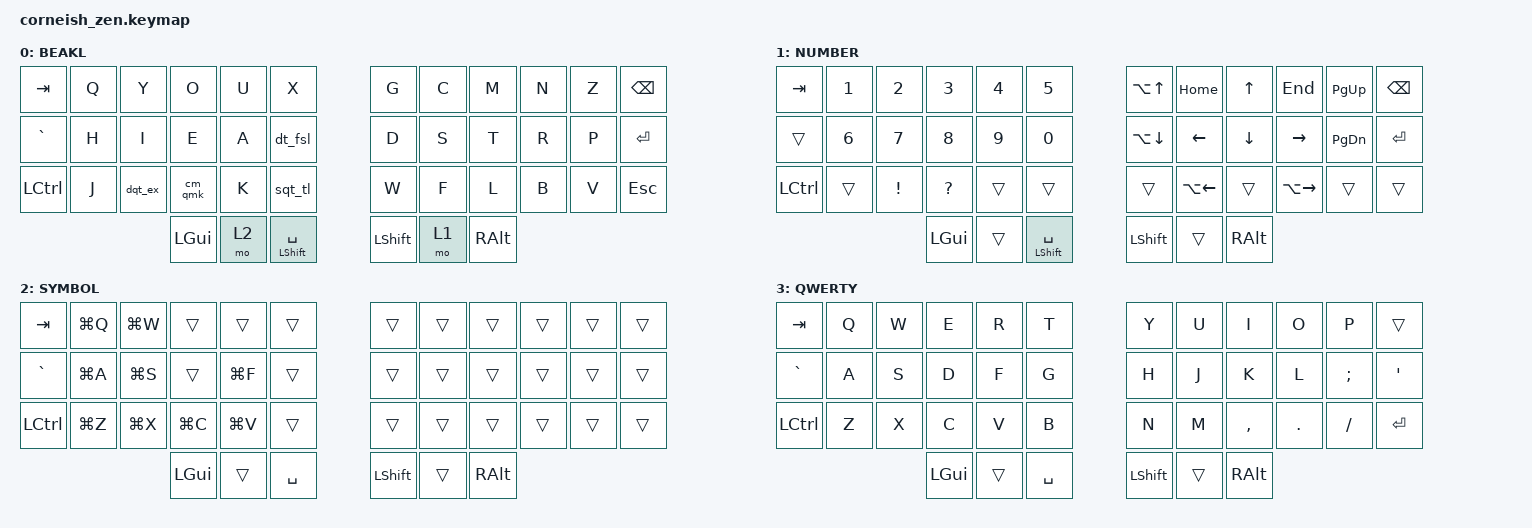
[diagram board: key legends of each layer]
#include <behaviors.dtsi>
#include <dt-bindings/zmk/keys.h>
#include <dt-bindings/zmk/bt.h>

// Layers
#define L1 0
#define L2 1
#define Fn 2
#define Ln 3

// Meh key
#define MEH LS(LC(LALT))

// Behaviors Constants
#define TAPPING_TERM_MS 280
#define QUICK_TAP_MS 175
#define GLOBAL_QUICK_TAP_MS 150

// Combos Constants
#define COMBO_TERM_DEFAULT 30
#define COMBO_QUICK_TAP_MS 100

&caps_word {
    continue-list = <UNDERSCORE MINUS BSPC DEL N1 N2 N3 N4 N5 N6 N7 N8 N9 N0>;
};

#include "behaviors.dtsi"
#include "macros.dtsi"
#include "combos.dtsi"

/ {
  chosen {
    zmk,matrix_transform = &default_transform;
    //zmk,matrix_transform = &five_column_transform;
  };
};

/ {
        keymap {
                compatible = "zmk,keymap";

                default_layer {
                        label = "BEAKL"; // BEAKL 27-A
// ╭──────┬─────┬─────┬─────┬─────┬──────╮   ╭─────────────────────────────────────╮
// |  TAB |  Q  |  Y  |  O  |  U  |  X   |   |  G   |  C  |  M  |  N  |  Z  | BKSP |
// ├──────┼─────┼─────┼─────┼─────┼──────┤   ├──────┼─────┼─────┼─────┼─────┼──────┤
// | `    |  H  |  I  |  E  |  A  | ./   |   |  D   |  S  |  T  |  R  |  P  | ENT  |
// ├──────┼─────┼─────┼─────┼─────┼──────┤   ├──────┼─────┼─────┼─────┼─────┼──────┤
// | CTRL |  J  | "!  | ,?  |  K  | '~   |   |  W   |  F  |  L  |  B  |  V  | ESC  |
// ╰──────┴─────┴─────┼─────┼─────┼──────┤   ├──────┼─────┼─────┼─────┴─────┴──────╯
//                    | GUI | LWR | SPC  |   | SHFT | RSE | ALT |
//                    ╰─────┴─────┴──────╯   ╰──────┴─────┴─────╯
                        bindings = <
// ╭────────────┬────────────┬────────────┬────────────┬────────────┬──────────────╮   ╭────────────┬────────────┬────────────┬────────────┬────────────┬────────────╮
    &kp TAB      &kp Q        &kp Y        &kp O        &kp U        &kp X             &kp G        &kp C        &kp M        &kp N        &kp Z        &kp BSPC
// ├────────────┼────────────┼────────────┼────────────┼────────────┼──────────────┤   ├────────────┼────────────┼────────────┼────────────┼────────────┼────────────┤
    &kp GRAVE    &kp H        &kp I        &kp E        &kp A        &dt_fsl           &kp D        &kp S        &kp T        &kp R        &kp P        &kp RET
// ├────────────┼────────────┼────────────┼────────────┼────────────┼──────────────┤   ├────────────┼────────────┼────────────┼────────────┼────────────┼────────────┤
    &kp LCTRL    &kp J        &dqt_ex      &cm_qmk      &kp K        &sqt_tl           &kp W        &kp F        &kp L        &kp B        &kp V        &kp ESC
// ╰────────────┴────────────┴────────────┼────────────┼────────────┼──────────────┤   ├────────────┼────────────┼────────────┼────────────┴────────────┴────────────╯
                                           &kp LGUI     &mo 2        &mt LSHFT SPACE   &kp LSHFT    &mo 1        &kp RALT
//                                        ╰────────────┴────────────┴──────────────╯   ╰────────────┴────────────┴────────────╯

                        >;
                };
                lower_layer {
                        label = "NUMBER";
// ╭──────┬─────┬─────┬─────┬─────┬─────╮   ╭─────────────────────────────────────────╮
// |  TAB |  1  |  2  |  3  |  4  |  5  |   | A(UP) | HOME |  UP  |  END |PGUP | BKSP |
// ├──────┼─────┼─────┼─────┼─────┼─────┤   ├───────┼──────┼──────┼──────┼─────┼──────┤
// |      |  6  |  7  |  8  |  9  |  0  |   | A(DN) | LEFT | DOWN | RGHT |PGDN | ENT  |
// ├──────┼─────┼─────┼─────┼─────┼─────┤   ├───────┼──────┼──────┼──────┼─────┼──────┤
// | CTRL |     |  !  |  ?  |     |     |   |       |A(LT) |      |A(RT) |     |      |
// ╰──────┴─────┴─────┼─────┼─────┼─────┤   ├───────┼──────┼──────┼──────┴─────┴──────╯
//                    | GUI |     | SPC |   |  SHFT |      |  ALT |
//                    ╰─────┴─────┴─────╯   ╰───────┴──────┴──────╯
                        bindings = <
// ╭────────────┬────────────┬────────────┬────────────┬────────────┬──────────────╮   ╭────────────┬────────────┬────────────┬─────────────┬────────────┬────────────╮
   &kp TAB      &kp N1       &kp N2       &kp N3       &kp N4       &kp N5             &kp LA(UP)   &kp HOME     &kp UP       &kp END       &kp PG_UP    &kp BSPC
// ├────────────┼────────────┼────────────┼────────────┼────────────┼──────────────┤   ├────────────┼────────────┼────────────┼─────────────┼────────────┼────────────┤
   &trans       &kp N6       &kp N7       &kp N8       &kp N9       &kp N0             &kp LA(DOWN) &kp LEFT     &kp DOWN     &kp RIGHT     &kp PG_DN    &kp RET
// ├────────────┼────────────┼────────────┼────────────┼────────────┼──────────────┤   ├────────────┼────────────┼────────────┼─────────────┼────────────┼────────────┤
   &kp LCTRL    &trans       &kp EXCL     &kp QMARK    &trans       &trans             &trans       &kp LA(LEFT) &trans       &kp LA(RIGHT) &trans       &trans
// ╰────────────┴────────────┴────────────┼────────────┼────────────┼──────────────┤   ├────────────┼────────────┼────────────┼─────────────┴────────────┴────────────╯
                          	               &kp LGUI     &trans       &mt LSHFT SPACE    &kp LSHFT    &trans       &kp RALT
//                                        ╰────────────┴────────────┴──────────────╯   ╰────────────┴────────────┴────────────╯

                        >;
                };

                raise_layer {
                        label = "SYMBOL";
// ╭──────┬──────┬──────┬─────┬──────┬─────╮   ╭─────────────────────────────────────╮
// |  TAB |  ⌘Q  |  ⌘W  |     |      |     |   |      |     |     |     |     | BKSP |
// ├──────┼──────┼──────┼─────┼──────┼─────┤   ├──────┼─────┼─────┼─────┼─────┼──────┤
// |   `  |  SEL | SAVE |     | FIND |     |   |      |     |     |     |     |      |
// ├──────┼──────┼──────┼─────┼──────┼─────┤   ├──────┼─────┼─────┼─────┼─────┼──────┤
// | CTRL | UNDO |  CUT | CPY | PSTE |     |   |      |     |     |     |     |      |
// ╰──────┴──────┴──────┼─────┼──────┼─────┤   ├──────┼─────┼─────┼─────┴─────┴──────╯
//                      | GUI |      | SPC |   | SHFT |     | ALT |
//                      ╰─────┴──────┴─────╯   ╰──────┴─────┴─────╯
                        bindings = <
// ╭────────────┬────────────┬────────────┬────────────┬────────────┬────────────╮   ╭────────────┬────────────┬────────────┬────────────┬────────────┬────────────╮
   &kp TAB      &kp LG(Q)    &kp LG(W)    &trans       &trans       &trans           &trans       &trans       &trans       &trans       &trans       &trans
// ├────────────┼────────────┼────────────┼────────────┼────────────┼────────────┤   ├────────────┼────────────┼────────────┼────────────┼────────────┼────────────┤
   &kp GRAVE    &kp LG(A)    &kp LG(S)    &trans       &kp LG(F)    &trans           &trans       &trans       &trans       &trans       &trans       &trans
// ├────────────┼────────────┼────────────┼────────────┼────────────┼────────────┤   ├────────────┼────────────┼────────────┼────────────┼────────────┼────────────┤
   &kp LCTRL    &kp LG(Z)    &kp LG(X)   &kp LG(C)     &kp LG(V)    &trans           &trans       &trans       &trans       &trans       &trans       &trans
// ╰────────────┴────────────┴────────────┼────────────┼────────────┼────────────┤   ├────────────┼────────────┼────────────┼────────────┴────────────┴────────────╯
                    	                     &kp LGUI    &trans       &kp SPACE         &kp LSHFT    &trans       &kp RALT
//                                        ╰────────────┴────────────┴────────────╯   ╰────────────┴────────────┴────────────╯

                        >;
                };
                qwerty_layer {
                        label = "QWERTY";
// ╭──────┬─────┬─────┬─────┬─────┬─────╮   ╭─────────────────────────────────────╮
// |  TAB |  Q  |  W  |  E  |  R  |  T  |   |  Y   |  U  |  I  |  O  |  P  | BKSP |
// ├──────┼─────┼─────┼─────┼─────┼─────┤   ├──────┼─────┼─────┼─────┼─────┼──────┤
// |  `   |  A  |  S  |  D  |  F  |  G  |   |  H   |  J  |  K  |  L  |  :  |  '   |
// ├──────┼─────┼─────┼─────┼─────┼─────┤   ├──────┼─────┼─────┼─────┼─────┼──────┤
// | CTRL |  Z  |  X  |  C  |  V  |  B  |   |  N   |  M  |  ,  |  .  |  /  | ENT  |
// ╰──────┴─────┴─────┼─────┼─────┼─────┤   ├──────┼─────┼─────┼─────┴─────┴──────╯
//                    | GUI |     | SPC |   | SHFT |     | ALT |
//                    ╰─────┴─────┴─────╯   ╰──────┴─────┴─────╯
                        bindings = <
// ╭────────────┬────────────┬────────────┬────────────┬────────────┬────────────╮   ╭────────────┬────────────┬────────────┬────────────┬────────────┬────────────╮
   &kp TAB      &kp Q        &kp W        &kp E        &kp R        &kp T            &kp Y        &kp U        &kp I        &kp O        &kp P        &trans
// ├────────────┼────────────┼────────────┼────────────┼────────────┼────────────┤   ├────────────┼────────────┼────────────┼────────────┼────────────┼────────────┤
   &kp GRAVE    &kp A        &kp S        &kp D        &kp F        &kp G            &kp H        &kp J        &kp K        &kp L        &kp SEMI     &kp SQT
// ├────────────┼────────────┼────────────┼────────────┼────────────┼────────────┤   ├────────────┼────────────┼────────────┼────────────┼────────────┼────────────┤
   &kp LCTRL    &kp Z        &kp X        &kp C        &kp V        &kp B            &kp N        &kp M        &kp COMMA    &kp DOT       &kp FSLH    &kp RET
// ╰────────────┴────────────┴────────────┼────────────┼────────────┼────────────┤   ├────────────┼────────────┼────────────┼────────────┴────────────┴────────────╯
                    	                     &kp LGUI    &trans       &kp SPACE         &kp LSHFT    &trans       &kp RALT
//                                        ╰────────────┴────────────┴────────────╯   ╰────────────┴────────────┴────────────╯

                        >;
                };
        };
};
